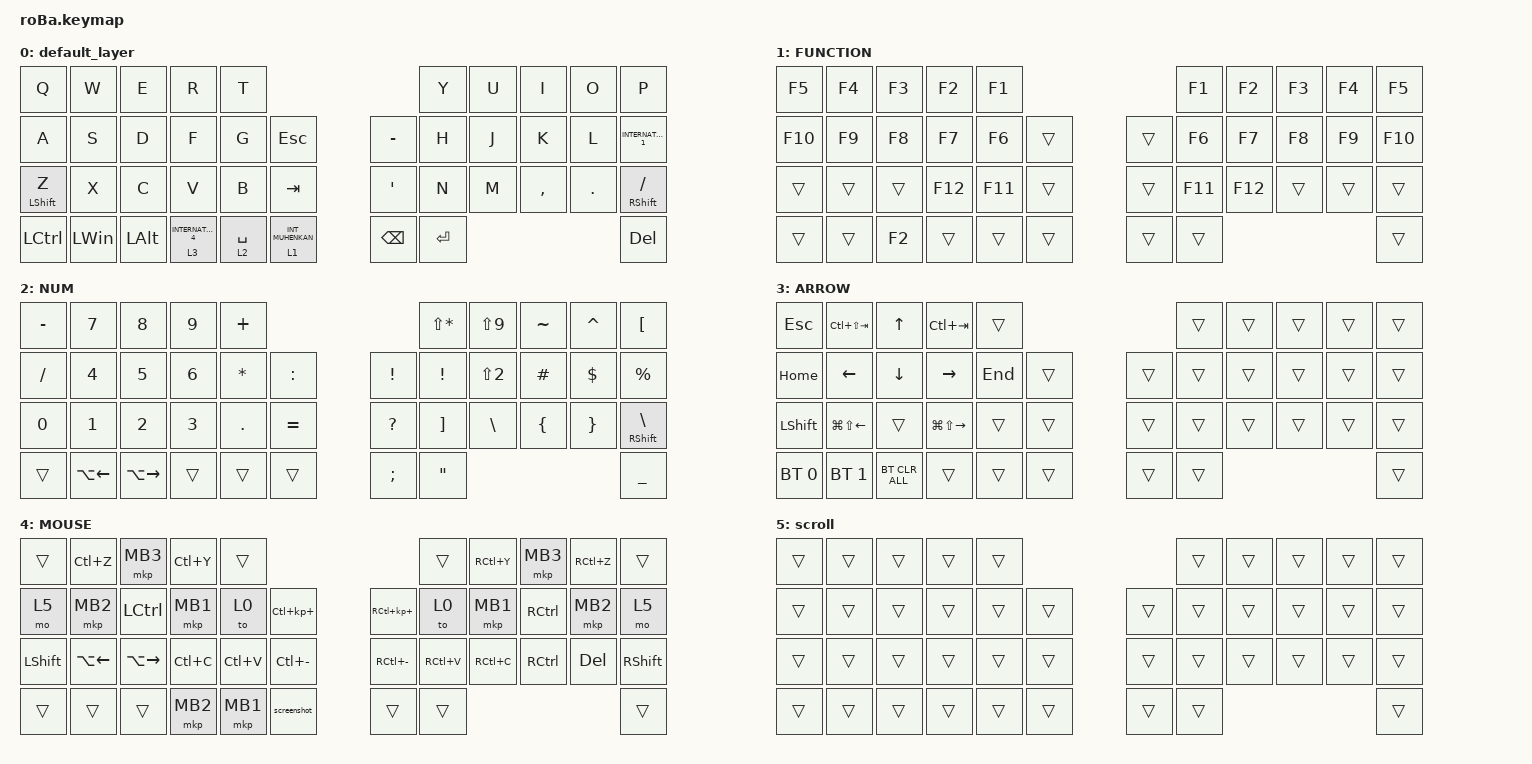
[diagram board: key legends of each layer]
#include <behaviors.dtsi>
#include <dt-bindings/zmk/bt.h>
#include <dt-bindings/zmk/keys.h>
#include <dt-bindings/zmk/pointing.h>

&mt {
    flavor = "balanced";
    quick-tap-ms = <0>;
};

&lt { tapping-term-ms = <150>; };

&trackball {
    automouse-layer = <4>;
    scroll-layers = <5>;

    // arrows {
    //     layers = <3>;
    //     bindings =x
    //         <&kp RIGHT_ARROW>,
    //         <&kp LEFT_ARROW>,
    //         <&kp UP_ARROW>,
    //         <&kp DOWN_ARROW>;
    //     tick = <10>;
    //     wait-ms = <5>;
    //     tap-ms = <5>;
    // };
};

/ {
    combos {
        compatible = "zmk,combos";

        tab {
            bindings = <&kp TAB>;
            key-positions = <11 12>;
        };

        shift_tab {
            bindings = <&kp LS(TAB)>;
            key-positions = <12 13>;
        };

        muhennkann {
            bindings = <&to_layer_0 INT_MUHENKAN>;
            key-positions = <11 10>;
        };

        double_quotation {
            bindings = <&kp DOUBLE_QUOTES>;
            key-positions = <20 21>;
        };

        eq {
            bindings = <&kp EQUAL>;
            key-positions = <24 25>;
        };
    };

    macros {
        to_layer_0: to_layer_0 {
            compatible = "zmk,behavior-macro-one-param";
            #binding-cells = <1>;
            bindings = <&to 0 &macro_param_1to1 &kp MACRO_PLACEHOLDER>;
            label = "TO_LAYER_0";
        };

        screenshot: screenshot {
            compatible = "zmk,behavior-macro";
            #binding-cells = <0>;
            bindings =
                <&macro_press>,
                <&kp LGUI>,
                <&macro_press>,
                <&kp LSHFT>,
                <&macro_wait_time 20>,
                <&macro_tap>,
                <&kp S>,
                <&macro_wait_time 20>,
                <&macro_release>,
                <&kp LSHFT>,
                <&macro_release>,
                <&kp LGUI>;

            label = "SCREENSHOT";
        };
    };

    behaviors {
        lt_to_layer_0: lt_to_layer_0 {
            compatible = "zmk,behavior-hold-tap";
            label = "LAYER_TAP_TO_0";
            bindings = <&mo>, <&to_layer_0>;

            flavor = "balanced";
            #binding-cells = <2>;
            tapping-term-ms = <150>;
        };
    };

    keymap {
        compatible = "zmk,keymap";

        default_layer {
            bindings = <
&kp Q             &kp W         &kp E         &kp R                             &kp T                                                                        &kp Y      &kp U  &kp I      &kp O    &kp P
&kp A             &kp S         &kp D         &kp F                             &kp G                   &kp ESC                            &kp MINUS         &kp H      &kp J  &kp K      &kp L    &kp INTERNATIONAL_1
&mt LEFT_SHIFT Z  &kp X         &kp C         &kp V                             &kp B                   &kp TAB                            &kp SINGLE_QUOTE  &kp N      &kp M  &kp COMMA  &kp DOT  &mt RIGHT_SHIFT SLASH
&kp LCTRL         &kp LEFT_WIN  &kp LEFT_ALT  &lt_to_layer_0 3 INTERNATIONAL_4  &lt_to_layer_0 2 SPACE  &lt_to_layer_0 1 INT_MUHENKAN      &kp BACKSPACE     &kp ENTER                             &kp DELETE
            >;
        };

        FUNCTION {
            bindings = <
&kp F5   &kp F4  &kp F3  &kp F2   &kp F1                       &kp F1   &kp F2   &kp F3  &kp F4  &kp F5
&kp F10  &kp F9  &kp F8  &kp F7   &kp F6   &trans      &trans  &kp F6   &kp F7   &kp F8  &kp F9  &kp F10
&trans   &trans  &trans  &kp F12  &kp F11  &trans      &trans  &kp F11  &kp F12  &trans  &trans  &trans
&trans   &trans  &kp F2  &trans   &trans   &trans      &trans  &trans                            &trans
            >;
        };

        NUM {
            bindings = <
&kp MINUS  &kp N7        &kp N8         &kp N9        &kp PLUS                                      &kp LS(ASTERISK)   &kp LS(N9)     &kp TILDE       &kp CARET        &kp LBKT
&kp SLASH  &kp NUMBER_4  &kp N5         &kp NUMBER_6  &kp ASTERISK  &kp COLON      &kp EXCLAMATION  &kp EXCLAMATION    &kp LS(N2)     &kp HASH        &kp DOLLAR       &kp PERCENT
&kp N0     &kp NUMBER_1  &kp NUMBER_2   &kp NUMBER_3  &kp PERIOD    &kp EQUAL      &kp QUESTION     &kp RBKT           &kp BACKSLASH  &kp LEFT_BRACE  &kp RIGHT_BRACE  &mt RIGHT_SHIFT BACKSLASH
&trans     &kp LA(LEFT)  &kp LA(RIGHT)  &trans        &trans        &trans         &kp SEMICOLON    &kp DOUBLE_QUOTES                                                  &kp UNDER
            >;
        };

        ARROW {
            bindings = <
&kp ESCAPE      &kp LC(LS(TAB))         &kp UP_ARROW    &kp LC(TAB)              &trans                       &trans  &trans  &trans  &trans  &trans
&kp HOME        &kp LEFT_ARROW          &kp DOWN_ARROW  &kp RIGHT_ARROW          &kp END  &trans      &trans  &trans  &trans  &trans  &trans  &trans
&kp LEFT_SHIFT  &kp LG(LS(LEFT_ARROW))  &trans          &kp LG(LS(RIGHT_ARROW))  &trans   &trans      &trans  &trans  &trans  &trans  &trans  &trans
&bt BT_SEL 0    &bt BT_SEL 1            &bt BT_CLR_ALL  &trans                   &trans   &trans      &trans  &trans                          &trans
            >;

            //sensor-bindings = <&inc_dec_kp LC(PAGE_UP) LC(PAGE_DOWN)>;
        };

        MOUSE {
            bindings = <
&trans          &kp LC(Z)     &mkp MB3       &kp LC(Y)  &trans                                           &trans     &kp RC(Y)  &mkp MB3   &kp RC(Z)  &trans
&mo 5           &mkp MB2      &kp LCTRL      &mkp MB1   &to 0      &kp LC(KP_PLUS)      &kp RC(KP_PLUS)  &to 0      &mkp MB1   &kp RCTRL  &mkp MB2   &mo 5
&kp LEFT_SHIFT  &kp LA(LEFT)  &kp LA(RIGHT)  &kp LC(C)  &kp LC(V)  &kp LC(MINUS)        &kp RC(MINUS)    &kp RC(V)  &kp RC(C)  &kp RCTRL  &kp DEL    &kp RIGHT_SHIFT
&trans          &trans        &trans         &mkp MB2   &mkp MB1   &screenshot          &trans           &trans                                      &trans
            >;
        };

        scroll {
            bindings = <
&trans  &trans  &trans  &trans  &trans                      &trans  &trans  &trans  &trans  &trans
&trans  &trans  &trans  &trans  &trans  &trans      &trans  &trans  &trans  &trans  &trans  &trans
&trans  &trans  &trans  &trans  &trans  &trans      &trans  &trans  &trans  &trans  &trans  &trans
&trans  &trans  &trans  &trans  &trans  &trans      &trans  &trans                          &trans
            >;
        };
    };

    conditional_layers {
        compatible = "zmk,conditional-layers";

        mouse {
            if-layers = <5>;
            then-layer = <5>;
        };
    };
};
